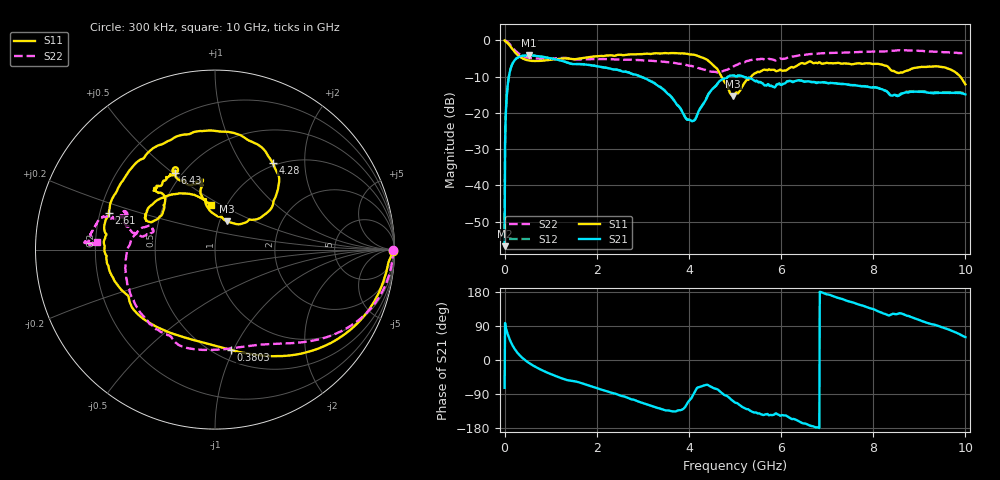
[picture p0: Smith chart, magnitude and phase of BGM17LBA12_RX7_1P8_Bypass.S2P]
!Agilent Technologies,E5071C,MY46316587,B.13.01
!Date: Fri Dec 08 11:16:48 2017
!Data & Calibration Information:
!Freq	S11:SOLT2(ON)	S21:SOLT2(ON)	S12:SOLT2(ON)	S22:SOLT2(ON)
!PortZ  Port1:50+j0  Port2:50+j0
!Above PortZ is port z conversion or system Z0 setting when saving the data.
!When reading, reference impedance value at option line is always used.
# Hz S dB R 50
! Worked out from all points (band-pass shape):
!   1001 points, 300 kHz to 10 GHz, reference 50 ohm
!   highest |S21| = -4.15 dB at 530.3 MHz (marker M1); lowest = -56.7 dB at 300 kHz (marker M2)
!   |S21| within 3 dB of the highest: 148.8 MHz to 2 GHz (1.851 GHz wide, 172 % of centre)
!   lowest |S11| = -15.4 dB at 4.96 GHz (marker M3), VSWR 1.41, Z = 54.2 + j17.5 ohm
!   |S11| at or under -10 dB: 4.708 GHz to 5.352 GHz (644.5 MHz wide, 12.8 % of centre); 9.887 GHz to end of sweep
!   |S22| runs from -8.9 to -0.1 dB; largest |S21 - S12| = 0.0058
!   S11 on the Smith chart (normalised r, x): 300 kHz: open; 380.3 MHz: 0.59, -0.98; 2.61 GHz: 0.24, +0.16; 4.28 GHz: 0.95, +1.39; 6.43 GHz: 0.46, +0.51; 10 GHz: 0.85, +0.44
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300000  -0.06 -0.5  -56.72 -73.3  -53.04 131.5  -0.06 -0.1
6.02982e7  -0.71 -21.2  -13.29 70.9  -13.20 71.0  -0.42 -16.2
9.02973e7  -1.13 -30.4  -10.23 60.6  -10.18 60.5  -0.80 -23.2
1.902943e8  -2.79 -54.3  -6.02 34.5  -6.00 34.4  -2.31 -40.6
3.802886e8  -4.95 -81.1  -4.31 6.2  -4.29 6.0  -4.24 -59.0
5.302841e8  -5.59 -95.1  -4.15 -7.9  -4.15 -8.0  -4.85 -69.2
1.020269e9  -5.35 -127.3  -5.01 -38.1  -4.99 -38.2  -5.01 -95.8
1.67025e9  -4.95 -156.2  -6.61 -61.1  -6.56 -61.1  -5.29 -118.9
2.610222e9  -4.08 160.8  -8.66 -96.9  -8.61 -96.6  -5.37 -142.3
3.3402e9  -3.65 116.6  -12.63 -127.1  -12.61 -126.8  -5.81 -166.1
3.980181e9  -3.80 75.4  -21.90 -111.1  -21.79 -110.8  -6.95 168.9
4.280172e9  -4.72 56.5  -18.17 -69.3  -18.11 -69.0  -7.92 161.3
4.600162e9  -7.68 38.3  -12.35 -76.2  -12.35 -76.1  -8.84 162.2
4.960151e9  -15.38 67.1  -9.70 -108.6  -9.67 -108.5  -7.23 168.8
5.00015e9  -14.82 77.1  -9.86 -112.1  -9.82 -112.0  -7.01 168.7
5.450136e9  -9.02 102.3  -11.31 -138.3  -11.26 -138.3  -5.48 160.2
6.430107e9  -6.35 117.5  -11.11 -164.6  -11.10 -164.6  -4.04 163.3
6.6701e9  -6.07 114.7  -11.56 -174.3  -11.51 -174.2  -3.78 163.6
8.34005e9  -7.61 133.2  -14.75 117.7  -14.69 117.8  -3.02 176.1
8.750038e9  -8.36 156.2  -14.40 116.7  -14.24 116.5  -2.81 176.9
9.360019e9  -7.16 148.4  -14.49 91.8  -14.32 92.1  -3.17 177.2
1e10  -12.15 95.2  -14.93 60.3  -14.68 60.4  -3.62 176.2
